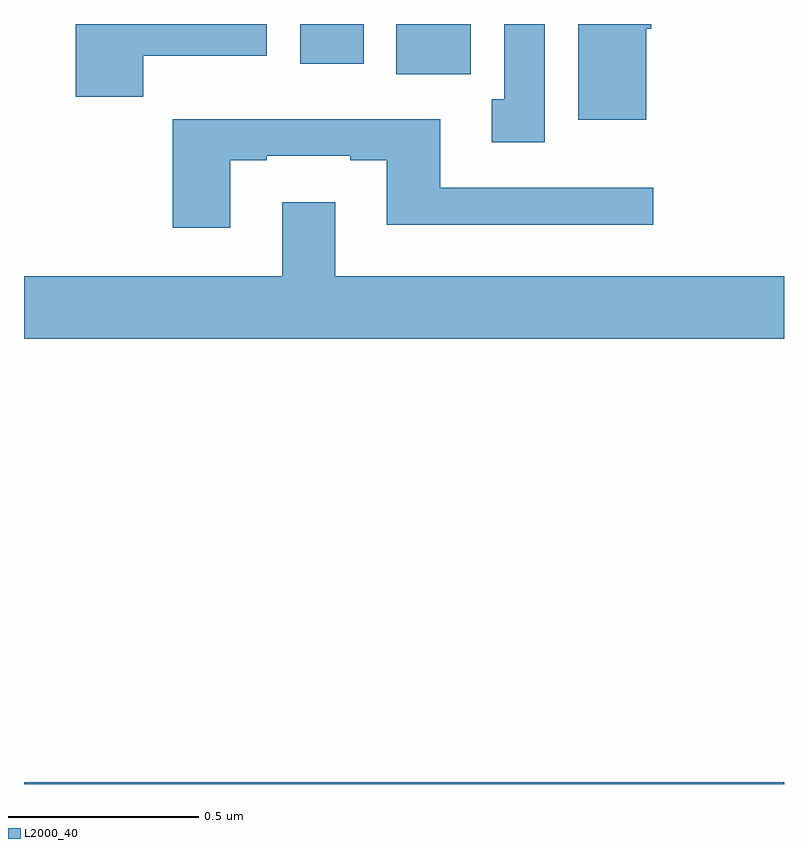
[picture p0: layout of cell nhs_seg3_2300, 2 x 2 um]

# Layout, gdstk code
import gdstk
lib = gdstk.Library(unit=1e-6, precision=1e-09)
def R(c, l, rs):  # rectangles x0, y0, x1, y1
    for r in rs: c.add(gdstk.rectangle(r[:2], r[2:], *l))
def P(c, l, *ps):  # polygons
    for p in ps: c.add(gdstk.Polygon(p, *l))
L2000_40 = (2000, 40)

nhs_seg3_2300 = lib.new_cell('nhs_seg3_2300')
R(nhs_seg3_2300, L2000_40, [(139,710.4,141,710.404), (139.979,712.268,140.176,712.4), (139.727,712.296,139.894,712.4)])
P(nhs_seg3_2300, L2000_40, [(139.314,712.316),(139.639,712.316),(139.639,712.4),(139.136,712.4),(139.136,712.209),(139.314,712.209)],
  [(140.638,712.388),(140.651,712.388),(140.651,712.4),(140.459,712.4),(140.459,712.148),(140.638,712.148)],
  [(140.371,712.4),(140.264,712.4),(140.264,712.202),(140.231,712.202),(140.231,712.089),(140.371,712.089)],
  [(139.543,712.041),(139.639,712.041),(139.639,712.053),(139.859,712.053),(139.859,712.041),(139.955,712.041),(139.955,711.872),(140.656,711.872),(140.656,711.969),(140.095,711.969),(140.095,712.15),(139.391,712.15),(139.391,711.864),(139.543,711.864)],
  [(141,711.736),(139.819,711.736),(139.819,711.931),(139.679,711.931),(139.679,711.736),(139,711.736),(139,711.572),(141,711.572)])

lib.write_gds('nhs_seg3_2300.gds')
